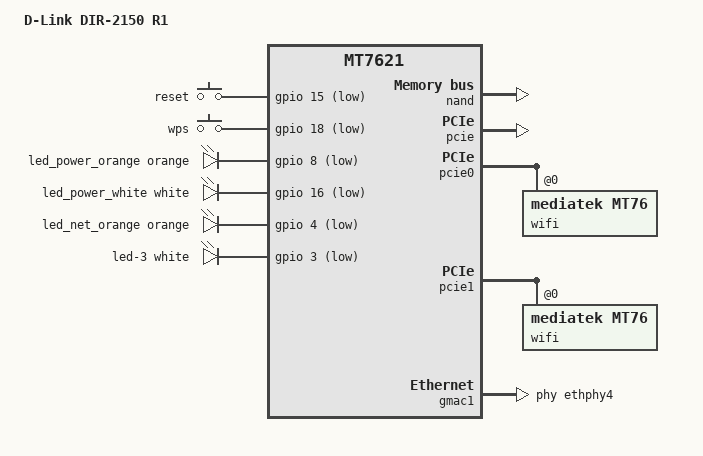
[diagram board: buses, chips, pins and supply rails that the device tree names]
// SPDX-License-Identifier: GPL-2.0-or-later OR MIT

#include "mt7621.dtsi"

#include <dt-bindings/gpio/gpio.h>
#include <dt-bindings/input/input.h>
#include <dt-bindings/leds/common.h>

/ {
	compatible = "dlink,dir-2150-r1", "mediatek,mt7621-soc";
	model = "D-Link DIR-2150 R1";

	aliases {
		label-mac-device = &gmac1;
		led-boot = &led_power_orange;
		led-failsafe = &led_power_white;
		led-running = &led_power_white;
		led-upgrade = &led_net_orange;
	};

	keys {
		compatible = "gpio-keys";

		reset {
			label = "reset";
			gpios = <&gpio 15 GPIO_ACTIVE_LOW>;
			linux,code = <KEY_RESTART>;
		};

		wps {
			label = "wps";
			gpios = <&gpio 18 GPIO_ACTIVE_LOW>;
			linux,code = <KEY_WPS_BUTTON>;
		};
	};

	leds {
		compatible = "gpio-leds";

		led_power_orange: led-0 {
			function = LED_FUNCTION_POWER;
			color = <LED_COLOR_ID_ORANGE>;
			gpios = <&gpio 8 GPIO_ACTIVE_LOW>;
		};

		led_power_white: led-1 {
			function = LED_FUNCTION_POWER;
			color = <LED_COLOR_ID_WHITE>;
			gpios = <&gpio 16 GPIO_ACTIVE_LOW>;
		};

		led_net_orange: led-2 {
			function = LED_FUNCTION_WAN;
			color = <LED_COLOR_ID_ORANGE>;
			gpios = <&gpio 4 GPIO_ACTIVE_LOW>;
		};

		led-3 {
			function = LED_FUNCTION_WAN;
			color = <LED_COLOR_ID_WHITE>;
			gpios = <&gpio 3 GPIO_ACTIVE_LOW>;
		};
	};
};

&nand {
	status = "okay";

	partitions {
		compatible = "fixed-partitions";
		#address-cells = <1>;
		#size-cells = <1>;

		partition@0 {
			label = "Bootloader";
			reg = <0x0 0x80000>;
			read-only;
		};

		partition@80000 {
			label = "config";
			reg = <0x80000 0x80000>;
			read-only;
		};

		partition@100000 {
			label = "factory";
			reg = <0x100000 0x40000>;
			read-only;

			nvmem-layout {
				compatible = "fixed-layout";
				#address-cells = <1>;
				#size-cells = <1>;

				eeprom_factory_0: eeprom@0 {
					reg = <0x0 0x400>;
				};

				eeprom_factory_8000: eeprom@8000 {
					reg = <0x8000 0x4da8>;
				};

				macaddr_factory_e006: macaddr@e006 {
					compatible = "mac-base";
					reg = <0xe006 0x6>;
					#nvmem-cell-cells = <1>;
				};
			};
		};
		
		partition@140000 {
			label = "firmware";
			compatible = "denx,uimage";
			reg = <0x140000 0x7E80000>;
		};
	};
};

&pcie {
	status = "okay";
};

&pcie0 {
	wifi@0,0 {
		compatible = "mediatek,mt76";
		reg = <0x0000 0 0 0 0>;
		nvmem-cells = <&eeprom_factory_0>, <&macaddr_factory_e006 2>;
		nvmem-cell-names = "eeprom", "mac-address";
		ieee80211-freq-limit = <2400000 2500000>;

		led {
			led-active-low;
		};
	};
};

&pcie1 {
	wifi@0,0 {
		compatible = "mediatek,mt76";
		reg = <0x0000 0 0 0 0>;
		nvmem-cells = <&eeprom_factory_8000>, <&macaddr_factory_e006 4>;
		nvmem-cell-names = "eeprom", "mac-address";
		ieee80211-freq-limit = <5000000 6000000>;

		led {
			led-active-low;
		};
	};
};

&gmac0 {
	nvmem-cells = <&macaddr_factory_e006 1>;
	nvmem-cell-names = "mac-address";
};

&gmac1 {
	status = "okay";
	label = "wan";
	phy-handle = <&ethphy4>;

	nvmem-cells = <&macaddr_factory_e006 0>;
	nvmem-cell-names = "mac-address";
};

&ethphy4 {
	/delete-property/ interrupts;
};

&switch0 {
	ports {
		port@0 {
			status = "okay";
			label = "lan4";
		};

		port@1 {
			status = "okay";
			label = "lan3";
		};

		port@2 {
			status = "okay";
			label = "lan2";
		};

		port@3 {
			status = "okay";
			label = "lan1";
		};
	};
};

&state_default {
	gpio {
		groups = "i2c", "uart3", "jtag", "wdt";
		function = "gpio";
	};
};
